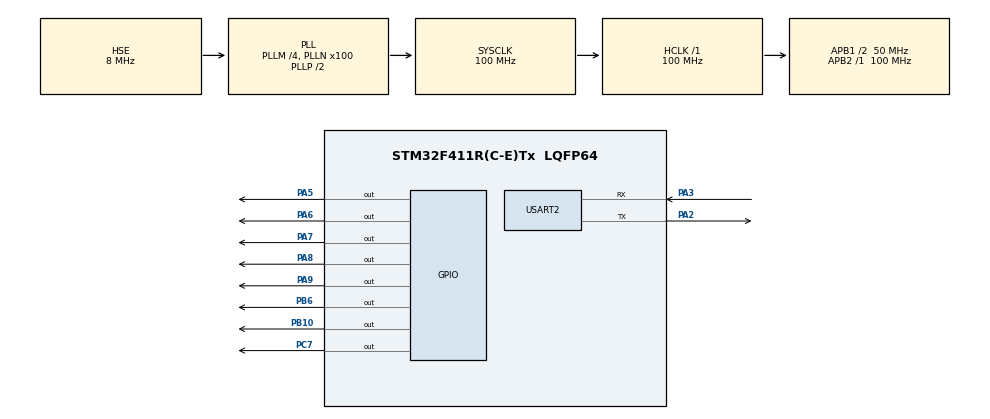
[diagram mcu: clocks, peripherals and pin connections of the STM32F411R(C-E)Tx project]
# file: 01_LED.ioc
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Mcu.Family=STM32F4
Mcu.Name=STM32F411R(C-E)Tx
Mcu.Package=LQFP64
NVIC.PriorityGroup=NVIC_PRIORITYGROUP_4
PA13.Mode=Serial_Wire
PA13.Signal=SYS_JTMS-SWDIO
PA14.Mode=Serial_Wire
PA14.Signal=SYS_JTCK-SWCLK
PA2.Mode=Asynchronous
PA2.Signal=USART2_TX
PA3.Mode=Asynchronous
PA3.Signal=USART2_RX
PA5.Signal=GPIO_Output
PA6.Signal=GPIO_Output
PA7.Signal=GPIO_Output
PA8.Signal=GPIO_Output
PA9.Signal=GPIO_Output
PB10.Signal=GPIO_Output
PB6.Signal=GPIO_Output
PC7.Signal=GPIO_Output
PH0\ -\ OSC_IN.Mode=HSE-External-Oscillator
PH0\ -\ OSC_IN.Signal=RCC_OSC_IN
PH1\ -\ OSC_OUT.Mode=HSE-External-Oscillator
PH1\ -\ OSC_OUT.Signal=RCC_OSC_OUT
ProjectManager.HeapSize=0x200
ProjectManager.StackSize=0x400
ProjectManager.TargetToolchain=STM32CubeIDE
RCC.48MHZClocksFreq_Value=50000000
RCC.AHBFreq_Value=100000000
RCC.APB1CLKDivider=RCC_HCLK_DIV2
RCC.APB1Freq_Value=50000000
RCC.APB1TimFreq_Value=100000000
RCC.APB2Freq_Value=100000000
RCC.APB2TimFreq_Value=100000000
RCC.CortexFreq_Value=100000000
RCC.HCLKFreq_Value=100000000
RCC.HSE_VALUE=8000000
RCC.HSI_VALUE=16000000
RCC.LSE_VALUE=32768
RCC.PLLM=4
RCC.PLLN=100
RCC.PLLSourceVirtual=RCC_PLLSOURCE_HSE
RCC.SYSCLKFreq_VALUE=100000000
RCC.SYSCLKSource=RCC_SYSCLKSOURCE_PLLCLK
RCC.VCOOutputFreq_Value=200000000
USART2.VirtualMode=VM_ASYNC
board=custom

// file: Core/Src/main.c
/* USER CODE BEGIN Header */
/**
  ******************************************************************************
  * @file           : main.c
  * @brief          : Main program body
  ******************************************************************************
  * @attention
  *
  * Copyright (c) 2024 STMicroelectronics.
  * All rights reserved.
  *
  * This software is licensed under terms that can be found in the LICENSE file
  * in the root directory of this software component.
  * If no LICENSE file comes with this software, it is provided AS-IS.
  *
  ******************************************************************************
  */
/* USER CODE END Header */
#include "main.h"
#include "usart.h"
#include "gpio.h"

/* USER CODE BEGIN PTD */

typedef struct{
	GPIO_TypeDef *port;
	uint16_t pinNumber;
	GPIO_PinState onState;
	GPIO_PinState offState;
} LED_Table;

LED_Table led_table[8] = {
		{GPIOA, GPIO_PIN_5, GPIO_PIN_SET, GPIO_PIN_RESET},
		{GPIOA, GPIO_PIN_6, GPIO_PIN_SET, GPIO_PIN_RESET},
		{GPIOA, GPIO_PIN_7, GPIO_PIN_SET, GPIO_PIN_RESET},
		{GPIOB, GPIO_PIN_6, GPIO_PIN_SET, GPIO_PIN_RESET},
		{GPIOC, GPIO_PIN_7, GPIO_PIN_SET, GPIO_PIN_RESET},
		{GPIOA, GPIO_PIN_9, GPIO_PIN_SET, GPIO_PIN_RESET},
		{GPIOA, GPIO_PIN_8, GPIO_PIN_SET, GPIO_PIN_RESET},
		{GPIOB, GPIO_PIN_10, GPIO_PIN_SET, GPIO_PIN_RESET}
};

void led_on(uint8_t ch) {
	HAL_GPIO_WritePin(led_table[ch].port, led_table[ch].pinNumber, led_table[ch].onState);
}

void led_off(uint8_t ch) {
	HAL_GPIO_WritePin(led_table[ch].port, led_table[ch].pinNumber, led_table[ch].offState);
}

void led_toggle(uint8_t ch) {
	HAL_GPIO_TogglePin(led_table[ch].port, led_table[ch].pinNumber);
}
/* USER CODE END PTD */

void SystemClock_Config(void);

int main(void)
{

  /* MCU Configuration--------------------------------------------------------*/

  /* Reset of all peripherals, Initializes the Flash interface and the Systick. */
  HAL_Init();

  /* Configure the system clock */
  SystemClock_Config();

  /* Initialize all configured peripherals */
  MX_GPIO_Init();
  MX_USART2_UART_Init();

  /* Infinite loop */
  /* USER CODE BEGIN WHILE */
  while (1)
  {
	  for(uint8_t i=0; i<8; i++) {
		  led_toggle(i);
		  HAL_Delay(200);
	  }

    /* USER CODE END WHILE */

  }
}

void SystemClock_Config(void)
{
  RCC_OscInitTypeDef RCC_OscInitStruct = {0};
  RCC_ClkInitTypeDef RCC_ClkInitStruct = {0};

  /** Configure the main internal regulator output voltage
  */
  __HAL_RCC_PWR_CLK_ENABLE();
  __HAL_PWR_VOLTAGESCALING_CONFIG(PWR_REGULATOR_VOLTAGE_SCALE1);

  /** Initializes the RCC Oscillators according to the specified parameters
  * in the RCC_OscInitTypeDef structure.
  */
  RCC_OscInitStruct.OscillatorType = RCC_OSCILLATORTYPE_HSE;
  RCC_OscInitStruct.HSEState = RCC_HSE_ON;
  RCC_OscInitStruct.PLL.PLLState = RCC_PLL_ON;
  RCC_OscInitStruct.PLL.PLLSource = RCC_PLLSOURCE_HSE;
  RCC_OscInitStruct.PLL.PLLM = 4;
  RCC_OscInitStruct.PLL.PLLN = 100;
  RCC_OscInitStruct.PLL.PLLP = RCC_PLLP_DIV2;
  RCC_OscInitStruct.PLL.PLLQ = 4;
  if (HAL_RCC_OscConfig(&RCC_OscInitStruct) != HAL_OK)
  {
    Error_Handler();
  }

  /** Initializes the CPU, AHB and APB buses clocks
  */
  RCC_ClkInitStruct.ClockType = RCC_CLOCKTYPE_HCLK|RCC_CLOCKTYPE_SYSCLK
                              |RCC_CLOCKTYPE_PCLK1|RCC_CLOCKTYPE_PCLK2;
  RCC_ClkInitStruct.SYSCLKSource = RCC_SYSCLKSOURCE_PLLCLK;
  RCC_ClkInitStruct.AHBCLKDivider = RCC_SYSCLK_DIV1;
  RCC_ClkInitStruct.APB1CLKDivider = RCC_HCLK_DIV2;
  RCC_ClkInitStruct.APB2CLKDivider = RCC_HCLK_DIV1;

  if (HAL_RCC_ClockConfig(&RCC_ClkInitStruct, FLASH_LATENCY_3) != HAL_OK)
  {
    Error_Handler();
  }
}

void Error_Handler(void)
{
  __disable_irq();
  while (1)
  {
  }
}
